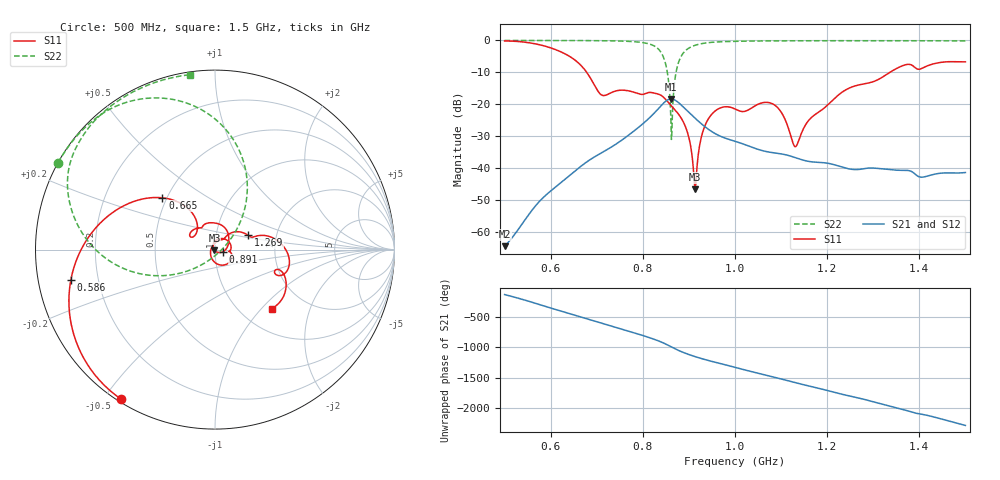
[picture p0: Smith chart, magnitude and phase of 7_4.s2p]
! TOUCHSTONE file generated by CST MICROWAVE STUDIO
! Date and time: Fri Oct  2 16:54:36 2020
! Project name: Scenario_1_Free_Space_out_of_line.cst
! Parameters = {Lambda=346.42; Step_1=17.321; dy1=243.594; dx1=693; L_HA=400; MT=2.54; Rad_Dielectric=30; Rad_Lower=7.3; Rad_Upper=30; a_HA=580; a_WG=246; b_HA=500; b_WG=121; c_HA=0; c_WG=187; d_feed=85; h_feed=15; h_lower=18; h_upper=40}
! Header version: 2018
! Port assignment regex: !\s*Touchstone port\s*([0-9]+)\s*=\s*(CST MWS port|CST DS port)\s*([0-9]+|Zmin|Zmax)\s*\(\"(.*)\"\)(\s*mode\s*([0-9]+))?.*
! Touchstone port assignment:
! Touchstone port 1 = CST MWS port 1 ("")
! Touchstone port 2 = CST MWS port 2 ("")
# GHz S DB R 50
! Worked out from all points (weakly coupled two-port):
!   1003 points, 500 MHz to 1.5 GHz, reference 50 ohm
!   highest |S21| = -18.34 dB at 861 MHz (marker M1); lowest = -64.5 dB at 500 MHz (marker M2)
!   lowest |S11| = -46.7 dB at 913 MHz (marker M3), VSWR 1.01, Z = 49.7 - j0.356 ohm
!   |S11| at or under -10 dB: 678.2 MHz to 1.336 GHz (658 MHz wide, 65.3 % of centre)
!   |S22| runs from -31.0 to 0.0 dB; largest |S21 - S12| = 0.00024
!   S11 on the Smith chart (normalised r, x): 500 MHz: 0.01, -0.55; 586 MHz: 0.10, -0.10; 665 MHz: 0.47, +0.33; 891 MHz: 1.10, -0.02; 1.269 GHz: 1.43, +0.24; 1.5 GHz: 1.37, -1.16
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0.5  -0.14 -122.3  -64.47 -128.9  -64.33 -129.9  -0.01 151.1
0.586  -1.72 -168.1  -48.94 41.3  -49.02 40.6  -0.02 145.2
0.665  -7.71 135.5  -39.50 -135.6  -39.49 -135.6  -0.04 138.6
0.667  -8.01 133.9  -39.28 -140.2  -39.26 -140.2  -0.04 138.4
0.712  -17.19 139.3  -35.09 115.8  -35.09 115.9  -0.09 133.5
0.789  -16.63 125.0  -27.44 -57.5  -27.46 -57.6  -0.49 118.3
0.834  -16.84 80.4  -21.35 -173.4  -21.36 -173.4  -2.74 90.1
0.85  -18.56 52.8  -18.99 133.3  -18.99 133.3  -7.73 64.1
0.861  -20.33 36.6  -18.34 90.6  -18.33 90.6  -25.50 15.6
0.866  -21.13 29.5  -18.46 71.1  -18.45 71.1  -17.71 -134.3
0.875  -22.64 15.7  -19.21 37.9  -19.20 37.8  -8.08 -158.8
0.891  -26.51 -13.3  -21.30 -13.1  -21.30 -13.2  -3.42 179.2
0.913  -46.71 -129.2  -24.32 -71.5  -24.32 -71.5  -1.54 163.6
0.927  -30.27 108.2  -26.11 -104.0  -26.11 -104.0  -1.02 157.5
0.942  -24.62 75.7  -27.82 -135.9  -27.82 -135.9  -0.70 152.5
1  -21.48 -3.5  -31.60 111.0  -31.60 111.0  -0.28 140.8
1.084  -20.06 -60.0  -35.21 -49.7  -35.21 -49.7  -0.14 131.4
1.131  -33.30 157.5  -36.73 -142.6  -36.73 -142.6  -0.11 127.4
1.167  -24.00 57.9  -38.06 152.4  -38.06 152.3  -0.10 124.4
1.269  -13.93 23.3  -40.43 -36.6  -40.43 -36.8  -0.08 116.6
1.334  -10.19 13.8  -40.47 -165.0  -40.48 -165.1  -0.09 111.7
1.5  -6.72 -46.1  -41.39 -127.6  -41.39 -127.5  -0.14 98.1
